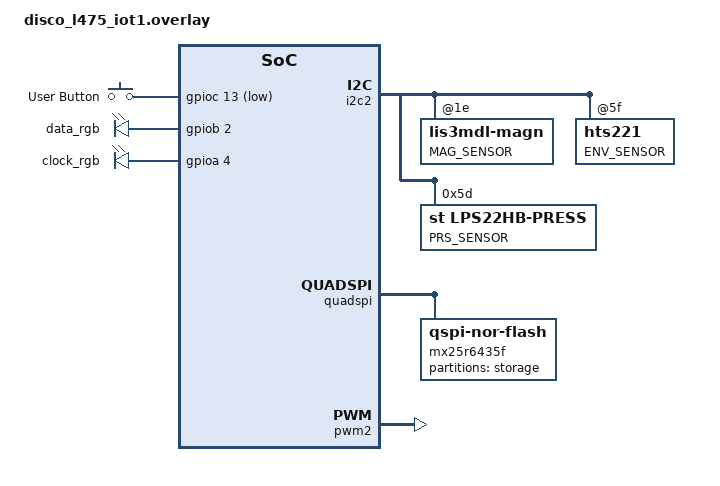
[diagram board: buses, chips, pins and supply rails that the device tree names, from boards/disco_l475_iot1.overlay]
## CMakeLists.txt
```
# SPDX-License-Identifier: Apache-2.0

cmake_minimum_required(VERSION 3.20.0)
find_package(Zephyr REQUIRED HINTS $ENV{ZEPHYR_BASE})
project(s1)

target_sources(app PRIVATE src/main.c src/task1.c)
```

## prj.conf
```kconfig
CONFIG_GPIO=y
CONFIG_ENTROPY_GENERATOR=y
#CONFIG_UART_INTERRUPT_DRIVEN=y
#CONFIG_SERIAL=y

CONFIG_SHELL=y
CONFIG_SHELL_BACKEND_SERIAL=y
CONFIG_UART_CONSOLE=y


CONFIG_CBPRINTF_COMPLETE=y
CONFIG_LOG=y
CONFIG_LOG_DEFAULT_LEVEL=3
CONFIG_LOG_MODE_DEFERRED=y
CONFIG_RTC=y

CONFIG_I2C=y
CONFIG_SENSOR=y
CONFIG_LIS3MDL=y

CONFIG_JSON_LIBRARY=y

CONFIG_FLASH=y
CONFIG_SPI=y
CONFIG_FLASH_MAP=y
CONFIG_NVS=y
CONFIG_FS_LOG_LEVEL_DBG=y

CONFIG_FILE_SYSTEM=y
CONFIG_FILE_SYSTEM_LITTLEFS=y
CONFIG_SHELL_STACK_SIZE=4096
CONFIG_MAIN_STACK_SIZE=4096

CONFIG_SHELL_BACKEND_SERIAL=y
CONFIG_FILE_SYSTEM_SHELL=y

#CONFIG_MAIN_STACK_SIZE=4096 #for file system
```

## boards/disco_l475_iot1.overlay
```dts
&i2c2 {
    mag_sensor: lis3mdl-magn@1e {
        label = "MAG_SENSOR";
        status = "okay";
    };
    env_sensor: hts221@5f{
        label = "ENV_SENSOR";
        status = "okay";
    };
    prs_sensor: lps22hb-press@5d {
        label = "PRS_SENSOR";
	    compatible = "st,lps22hb-press";
	    reg = <0x5d>;
    };
};


&quadspi {
    status = "okay";
    mx25r6435f: qspi-nor-flash@90000000 {
        partitions {
            spi_storage_partition: partition@700000 {
                label = "storage";
                reg = <0x700000 0x100000>; /* 1 MB for storage */
            };
        };
    };
};

/{
    gpio_keys {
        compatible = "gpio-keys";
        user_button: button_0 {
            label = "User Button";
            gpios = <&gpioc 13 GPIO_ACTIVE_LOW>;
            zephyr,code = <INPUT_KEY_0>;
        };
    };
    aliases {
        rtc = &rtc;
        mag = &mag_sensor;
        env = &env_sensor;
        prs = &prs_sensor;
        sw0 = &user_button; 
        storage = &spi_storage_partition;
        //mag = &lis3mdl_magn_1e;
        //mag = &MAG_SENSOR;
    };
};






//S1 LED overaly
/{
    aliases {
        datargb = &data_rgb;
        clkrgb = &clock_rgb;
        
    };

    pwmleds: pwmleds {
		compatible = "pwm-leds";
		status = "disabled";
		/*
		 * green_pwm_1 is connected to CN1 pin 2 not LD1, since LD1
		 * shares a pin with the Arduino SPI SCL line.
		 */
		pwm_1: pwm_1 {
			pwms = <&pwm2 1 PWM_MSEC(1000) PWM_POLARITY_NORMAL>;
		};
		pwm_2: pwm_2 {
			pwms = <&pwm15 1 PWM_MSEC(1000) PWM_POLARITY_NORMAL>;
		};
	};

    gpios {
        compatible="gpio-leds";
        status="okay";
        data_rgb: data_rgb {
            gpios = <&gpiob 2 GPIO_ACTIVE_HIGH>;
        };
        clock_rgb: clock_rgb {
            gpios = <&gpioa 4 GPIO_ACTIVE_HIGH>;
        };
    };
};

&pwm2 {
    status = "okay";
};
```

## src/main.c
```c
#include <stdio.h>
#include "task1.c"
#include "task2.c"
#include "task3.c"
#include "task5.c"

#include <zephyr/kernel.h>
#include <zephyr/drivers/gpio.h>
#include <zephyr/random/random.h>
#include <zephyr/shell/shell.h>
#include <zephyr/logging/log.h>
#include <inttypes.h>
#include <zephyr/drivers/pwm.h>
#include <zephyr/devicetree.h>


#define SLEEP_TIME_MS   1000
#define STACK_SIZE 1024
#define RNG_PRIORITY 7
#define DISPLAY_PRIORITY 7
#define MSGQ_SIZE 10
#define MSGQ_ALIGNMENT 4
const struct device *const rtc = DEVICE_DT_GET(DT_ALIAS(rtc));

//Creates command subset

SHELL_STATIC_SUBCMD_SET_CREATE(
    custom_cmds,
    SHELL_CMD_ARG(rtc, NULL, "set time", rtc_time, 2, 6),
    SHELL_CMD_ARG(sample, NULL, "sample", sample_cmd, 2, 6),
    //SHELL_CMD_ARG(setTime, NULL, "set time", set_date_time, 0, 7),
    //SHELL_CMD_ARG(getTime, NULL, "get time", get_date_time, 0, 0),
    SHELL_CMD_ARG(sensor, NULL, "get sensor", sensor_main, 3, 0),
    SHELL_CMD_ARG(file, NULL, "file stuff", file_handler, 2, 0),
    SHELL_SUBCMD_SET_END
);
//SHELL_CMD_REGISTER(setTime, NULL, "", set_date_time); //determines what function will run based on the command
//SHELL_CMD_REGISTER(getTime, NULL, "", get_date_time);
SHELL_CMD_REGISTER(rtc, NULL, "", rtc_time);
SHELL_CMD_REGISTER(sensor, NULL, "", sensor_main);
SHELL_CMD_REGISTER(sample, NULL, "", sample_cmd);
SHELL_CMD_REGISTER(file, NULL, "", file_handler);

int main(){
    //set_date_time(2025, 3, 28, 3, 39, 0);
    while (get_date_time() == 0) {
		k_sleep(K_MSEC(1000));
	};
    return 0;
}
```

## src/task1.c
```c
#include "task1.h"


static int rtc_time(const struct shell *shell, size_t argc, char *argv[]) {
	if(argv[1][0]=='r'){
		get_date_time();
	}
	else if(argv[1][0]=='w'){
		set_date_time(shell, argc, argv);
	}
}

static int set_date_time(const struct shell *shell, size_t argc, char *argv[]) {
	printf("%d\n", argc);
    int year = atoi(argv[2]);
    int mon = atoi(argv[3]);
    int date = atoi(argv[4]);
    int hour = atoi(argv[5]);
    int min = atoi(argv[6]);
    int sec = atoi(argv[7]);
	int ret = 0;
	struct rtc_time tm = {
		.tm_year = year - 1900,
		.tm_mon = mon - 1,
		.tm_mday = date,
		.tm_hour = hour,
		.tm_min = min,
		.tm_sec = sec,
	};

	ret = rtc_set_time(rtc, &tm);
	if (!device_is_ready(rtc)) {
		printf("RTC device is not ready\n");
		return 1;
	}
	if (ret < 0) {
		printf("Cannot write date time: %d\n", ret);
		return 1;
	}
	return 0;
}

static int get_date_time() {
	int ret = 0;
	struct rtc_time tm;

	ret = rtc_get_time(rtc, &tm);
	if (ret < 0) {
		printf("Cannot read date time: %d\n", ret);
		return 1;
	}
	printf("<%04d-%02d-%02d %02d:%02d:%02d>\n", tm.tm_year + 1900,
	       tm.tm_mon + 1, tm.tm_mday, tm.tm_hour, tm.tm_min, tm.tm_sec);

	return 0;
}
static char* get_date_time_json() {
	static char datetime[64];
	int ret = 0;
	struct rtc_time tm;

	ret = rtc_get_time(rtc, &tm);
	if (ret < 0) {
		printf("Cannot read date time: %d\n", ret);
		return 1;
	}
	snprintf(datetime, sizeof(datetime), "%04d-%02d-%02d %02d:%02d:%02d", tm.tm_year + 1900, tm.tm_mon + 1, tm.tm_mday, tm.tm_hour, tm.tm_min, tm.tm_sec);
	return datetime;
}
```

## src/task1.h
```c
#ifndef TASK1_H
#define TASK1_H

#include <zephyr/kernel.h>
#include <zephyr/device.h>
#include <zephyr/drivers/rtc.h>
#include <zephyr/sys/util.h>
#include <zephyr/devicetree.h>
#include <zephyr/shell/shell.h>


//const struct device *const rtc = DEVICE_DT_GET(DT_ALIAS(rtc));
static int rtc_time(const struct shell *shell, size_t argc, char *argv[]);
static int set_date_time(const struct shell *shell, size_t argc, char *argv[]);
static int get_date_time();
extern const struct device *const rtc;
static char* get_date_time_json();

#endif 
```

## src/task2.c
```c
#include "task2.h"

#define RING_BUFFER_SIZE 128
#define DISPLAY_PRIORITY 7
#define STACK_SIZE 1024

//Gets nodes
const struct device *const mag = DEVICE_DT_GET(DT_ALIAS(mag));
const struct device *const env = DEVICE_DT_GET(DT_ALIAS(env));
const struct device *const prs = DEVICE_DT_GET(DT_ALIAS(prs));

RING_BUF_DECLARE(ringMag1, RING_BUFFER_SIZE);
RING_BUF_DECLARE(ringMag2, RING_BUFFER_SIZE);
RING_BUF_DECLARE(ringMag3, RING_BUFFER_SIZE);
RING_BUF_DECLARE(ringTmp, RING_BUFFER_SIZE);
RING_BUF_DECLARE(ringHum, RING_BUFFER_SIZE);
RING_BUF_DECLARE(ringPrs, RING_BUFFER_SIZE);





//Decides which sensor to return 
void sensor_main(const struct shell *shell, size_t argc, char *argv[]){
	if(strcmp(argv[1], "mag")==0){
		get_mag(1);
	}
	else if(strcmp(argv[1], "tmp")==0){
		get_tmp(1);
	}
	else if(strcmp(argv[1], "hum")==0){
		get_hum(1);
	}
	else if(strcmp(argv[1], "prs")==0){
		get_pressure(1);
	}
}

//Returns mag sensor
char* get_mag(int useRing){
	static char mag_value[64]; // Static buffer to hold the formatted string
	struct sensor_value x, y, z;
	uint8_t data1[sizeof(x)];
	uint8_t data2[sizeof(y)];
	uint8_t data3[sizeof(z)];
	//fetch sample from sensor
	int ret = sensor_sample_fetch(mag);
	if (ret) {
		printf("Sensor sample fetch error: %d\n", ret);
	 	return 1;
	}
	
	//retrieve values 
	ret = sensor_channel_get(mag, SENSOR_CHAN_MAGN_X, &x);
	ret |= sensor_channel_get(mag, SENSOR_CHAN_MAGN_Y, &y);
	ret |= sensor_channel_get(mag, SENSOR_CHAN_MAGN_Z, &z);
	memcpy(data1, &x, sizeof(x));  // Copy struct x into the data array
	memcpy(data2, &y, sizeof(y));  // Copy struct y into the data array
	memcpy(data3, &z, sizeof(z));  // Copy struct z into the data array
	if (ret) {
		printf("Sensor channel get error: %d\n", ret);
		k_sleep(K_MSEC(1000));
		return 1;
	}
	//print readings
	if(useRing == 1){
		if (ring_buf_put(&ringMag1, &data1, sizeof(data1)) == 0) {
		}
		if (ring_buf_put(&ringMag2, &data2, sizeof(data2)) == 0) {
		}
		if (ring_buf_put(&ringMag3, &data3, sizeof(data3)) == 0) {
		}
	}
	// Format the magnetometer values into a string
    snprintf(mag_value, sizeof(mag_value), "X: %d.%06d, Y: %d.%06d, Z: %d.%06d",
             x.val1, x.val2, y.val1, y.val2, z.val1, z.val2);
    return mag_value;	
}

char* get_tmp(int useRing) {
	static char tmp_value[32]; // Static buffer to hold the formatted string
    struct sensor_value temp;
    uint8_t data[sizeof(struct sensor_value)];  
    int ret = sensor_sample_fetch(env);

    if (ret) {
        printf("Error fetching temperature sample: %d\n", ret);
        return 1;
    }

    // Get temperature from the sensor
    ret = sensor_channel_get(env, SENSOR_CHAN_AMBIENT_TEMP, &temp);
    if (ret) {
        printf("Error getting temperature channel: %d\n", ret);
        return 1;
    }

    // Copy the temperature value into the data buffer
    memcpy(data, &temp, sizeof(temp));

    // Write the data to the ring buffer (temperature)
	if(useRing == 1){
		if (ring_buf_put(&ringTmp, data, sizeof(data)) == 0) {
		}
	}	
    // Format the temperature value into a string
    snprintf(tmp_value, sizeof(tmp_value), "%d.%06d °C", temp.val1, temp.val2);
    return tmp_value;
}

char* get_hum(int useRing) {
	static char hum_value[32]; // Static buffer to hold the formatted string
    struct sensor_value hum;
	uint8_t data[sizeof(struct sensor_value)];
	//fetch new sample from sensor
    int ret = sensor_sample_fetch(env);

    if (ret) {
        printf("Error fetching humidity sample: %d\n", ret);
        return ret;
    }

    // Get the humidity data from the sensor
    ret = sensor_channel_get(env, SENSOR_CHAN_HUMIDITY, &hum);
    if (ret) {
        printf("Error getting humidity channel: %d\n", ret);
        return ret;
    }
	memcpy(data, &hum, sizeof(hum));
	//prints humidity
	if(useRing == 1){
		if (ring_buf_put(&ringHum, data, sizeof(data)) == 0) {
		}
	}
	// Format the humidity value into a string
    snprintf(hum_value, sizeof(hum_value), "%d.%06d %%", hum.val1, hum.val2);
    return hum_value;
}

char* get_pressure(int useRing) {
	static char prs_value[32]; // Static buffer to hold the formatted string
    struct sensor_value pressure;
	uint8_t data[sizeof(struct sensor_value)];
    int ret;

    // Fetch a new sample from the pressure sensor 
    ret = sensor_sample_fetch(prs);
    if (ret) {
        printf("Error fetching pressure sample: %d\n", ret);
        return 1;
    }

    // gets pressure from sensor
    ret = sensor_channel_get(prs, SENSOR_CHAN_PRESS, &pressure);
    if (ret) {
        printf("Error getting pressure channel: %d\n", ret);
        return 1;
    }
    pressure.val1 = pressure.val1 * 1000; // Convert integer part to Pa
    pressure.val2 = pressure.val2 * 1000; // Adjust fractional part
	memcpy(data, &pressure, sizeof(pressure));
	//prints pressure
	if(useRing == 1){
    	if (ring_buf_put(&ringPrs, data, sizeof(data)) == 0) {
    	}
	}
    // Format the pressure value into a string
    snprintf(prs_value, sizeof(prs_value), "%d.%06d Pa", pressure.val1, pressure.val2);
    return prs_value;
}

void display_task(int useRing) {
    uint8_t data[sizeof(struct sensor_value)];  // Space for one sensor_value
    struct sensor_value x, y, z, hum, pressure, temp;

    while (1) {
        // Read and display magnetometer data
		if (ring_buf_get(&ringMag3, data, sizeof(data)) != 0) {
            // Deserialize the data back into the sensor_value structs
            memcpy(&z, data, sizeof(z));  // Copy data into struct x
			if (ring_buf_get(&ringMag2, data, sizeof(data)) != 0) {
            	memcpy(&y, data, sizeof(y));  // Copy data into struct y3
				if (ring_buf_get(&ringMag1, data, sizeof(data)) != 0) {
            		memcpy(&x, data, sizeof(x));  // Copy data into struct z
				}
		}

            // Print the sensor readings
			printf("X: %d.%06d, Y: %d.%06d, Z: %d.%06d\n",
				x.val1, x.val2, y.val1, y.val2, z.val1, z.val2);
        }

        // Read and display temperature data
        if (ring_buf_get(&ringTmp, data, sizeof(data)) > 1) {
            memcpy(&temp, data, sizeof(temp));
            printf("%d.%06d °C\n", temp.val1, temp.val2);
        }

        // Read and display humidity data
        if (ring_buf_get(&ringHum, data, sizeof(data)) != 0) {
            memcpy(&hum, data, sizeof(hum));
            printf("%d.%06d %%\n", hum.val1, hum.val2);
        }

        // Read and display pressure data
        if (ring_buf_get(&ringPrs, data, sizeof(data)) != 0) {
            memcpy(&pressure, data, sizeof(pressure));
            printf("%d.%06d Pa\n", pressure.val1, pressure.val2);
        }

        k_msleep(50);
    }
}
K_THREAD_DEFINE(displayT, STACK_SIZE, display_task, NULL, NULL, NULL, DISPLAY_PRIORITY, 0, 0);
```

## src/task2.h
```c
#ifndef TASK2_H
#define TASK2_H

#include <zephyr/kernel.h>
#include <zephyr/device.h>
#include <zephyr/drivers/rtc.h>
#include <zephyr/sys/util.h>
#include <zephyr/devicetree.h>
#include <zephyr/shell/shell.h>
#include <zephyr/drivers/sensor.h>
//#include <sys/ring_buffer.h>

#include <zephyr/sys/mpsc_pbuf.h>
#include <zephyr/sys/mpsc_packet.h>

//const struct device *const rtc = DEVICE_DT_GET(DT_ALIAS(rtc));
void sensor_main(const struct shell *shell, size_t argc, char *argv[]);
char* get_mag();
char* get_tmp();
char* get_hum();
char* get_pressure();
void display_task(); 

#endif 
```

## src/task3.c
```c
#include "task3.h"
#include "task2.h"
#include "task5.h"
#include <zephyr/data/json.h>
#include <zephyr/drivers/gpio.h>
#include <zephyr/kernel.h>


#define SAMPLE_BUFFER_SIZE 512
#define SAMPLE_PRIORITY 6
#define STACK_SIZE 4096

#define MSGQ_SIZE 10
#define MSGQ_ALIGNMENT 4

static int on=0;

static const struct gpio_dt_spec button = GPIO_DT_SPEC_GET(DT_ALIAS(sw0), gpios); // GPIO pin for button
static struct gpio_callback button_cb_data;

struct json_struct {
    int DID;
    char* time;
    char* value;
};
// JSON descriptors for struct json_struct
static const struct json_obj_descr json_descr[] = {
    JSON_OBJ_DESCR_PRIM(struct json_struct, DID, JSON_TOK_NUMBER),
    JSON_OBJ_DESCR_PRIM(struct json_struct, time, JSON_TOK_STRING),
    JSON_OBJ_DESCR_PRIM(struct json_struct, value, JSON_TOK_STRING),
};

//Creates queue
K_MSGQ_DEFINE(Q_on_mag, sizeof(uint32_t), MSGQ_SIZE, MSGQ_ALIGNMENT);
K_MSGQ_DEFINE(Q_on_tmp, sizeof(uint32_t), MSGQ_SIZE, MSGQ_ALIGNMENT);
K_MSGQ_DEFINE(Q_on_hum, sizeof(uint32_t), MSGQ_SIZE, MSGQ_ALIGNMENT);
K_MSGQ_DEFINE(Q_on_prs, sizeof(uint32_t), MSGQ_SIZE, MSGQ_ALIGNMENT);
K_MSGQ_DEFINE(Q_on_all, sizeof(uint32_t), MSGQ_SIZE, MSGQ_ALIGNMENT);
K_MSGQ_DEFINE(Q_rate, sizeof(uint32_t), MSGQ_SIZE, MSGQ_ALIGNMENT);
K_MSGQ_DEFINE(Q_device, sizeof(uint32_t), MSGQ_SIZE, MSGQ_ALIGNMENT);

//button function
void button_pressed(const struct device *dev, struct gpio_callback *cb, uint32_t pins) {
    int on_val = 1;
    int off_val = 0;
    if(on == 1){
        k_msgq_put(&Q_on_mag, &off_val, K_NO_WAIT);
        k_msgq_put(&Q_on_prs, &off_val, K_NO_WAIT);
        k_msgq_put(&Q_on_all, &off_val, K_NO_WAIT);
        k_msgq_put(&Q_on_tmp, &off_val, K_NO_WAIT);
        k_msgq_put(&Q_on_hum, &off_val, K_NO_WAIT);
    }
    else{
        k_msgq_put(&Q_on_tmp, &on_val, K_NO_WAIT);
    }
}

//takes cmd params
void sample_cmd(const struct shell *shell, size_t argc, char *argv[]){
    int on_val = 1;
    int off_val = 0;
    if(argv[1][0]=='s'){
        if(argv[2][0]=='4'){
            k_msgq_put(&Q_on_mag, &on_val, K_NO_WAIT);
        }
        else if(strcmp(argv[2],"15")==0){
            k_msgq_put(&Q_on_mag, &off_val, K_NO_WAIT);
            k_msgq_put(&Q_on_tmp, &off_val, K_NO_WAIT);
            k_msgq_put(&Q_on_hum, &off_val, K_NO_WAIT);
            k_msgq_put(&Q_on_prs, &off_val, K_NO_WAIT);
            k_msgq_put(&Q_on_all, &on_val, K_NO_WAIT);
        }
        else if(argv[2][0]=='0'){
            k_msgq_put(&Q_on_tmp, &on_val, K_NO_WAIT);
        }
        else if(argv[2][0]=='1'){
            k_msgq_put(&Q_on_hum, &on_val, K_NO_WAIT);
        }
        else if(argv[2][0]=='2'){
            k_msgq_put(&Q_on_prs, &on_val, K_NO_WAIT);
        }
        k_msgq_put(&Q_device, argv[2], K_NO_WAIT);
    }
    else if(argv[1][0]=='p'){
        if(argv[2][0]=='4'){
            k_msgq_put(&Q_on_mag, &off_val, K_NO_WAIT);
        }
        else if(argv[2][0]=='2'){
            k_msgq_put(&Q_on_prs, &off_val, K_NO_WAIT);
        }
        else if(strcmp(argv[2],"15")==0){
            k_msgq_put(&Q_on_all, &off_val, K_NO_WAIT);
        }
        else if(argv[2][0]=='0'){
            k_msgq_put(&Q_on_tmp, &off_val, K_NO_WAIT);
        }
        else if(argv[2][0]=='1'){
            k_msgq_put(&Q_on_hum, &off_val, K_NO_WAIT);
        }
        k_msgq_put(&Q_device, argv[2], K_NO_WAIT);
    }
    else if(argv[1][0]=='w'){
        uint32_t rate = (uint32_t)atoi(argv[2]);
        k_msgq_put(&Q_rate, &rate, K_NO_WAIT);
    }
}

void sample_mag(){
    struct json_struct mag_data = {
        .DID = 4, // Device ID for magnetometer
        .time = get_date_time_json(), // Function to get the current timestamp
        .value = get_mag(0) // Function to get magnetometer data
    };
    char json_output[SAMPLE_BUFFER_SIZE];
    int ret = json_obj_encode_buf(json_descr, ARRAY_SIZE(json_descr), &mag_data, json_output, sizeof(json_output));
    printf("%s\n", json_output);

}
void sample_tmp(){
    //sets up json object
    struct json_struct tmp_data = {
        .DID = 0, // Device ID for temperature sensor
        .time = get_date_time_json(), // Function to get the current timestamp
        .value = get_tmp(0) // Function to get temperature data
    };
    char json_output[SAMPLE_BUFFER_SIZE];
    int ret = json_obj_encode_buf(json_descr, ARRAY_SIZE(json_descr), &tmp_data, json_output, sizeof(json_output));
    printf("%s\n", json_output);
}
void sample_hum(){
    //sets up json object
    struct json_struct hum_data = {
        .DID = 1, // Device ID for humidity sensor
        .time = get_date_time_json(), // Function to get the current timestamp
        .value = get_hum(0) // Function to get humidity data
    };
    char json_output[SAMPLE_BUFFER_SIZE];
    int ret = json_obj_encode_buf(json_descr, ARRAY_SIZE(json_descr), &hum_data, json_output, sizeof(json_output));
    printf("%s\n", json_output);
}
void sample_prs(){
    //sets up json object
    struct json_struct prs_data = {
        .DID = 2, // Device ID for pressure sensor
        .time = get_date_time_json(), // Function to get the current timestamp
        .value = get_pressure(0) // Function to get pressure data
    };
    char json_output[SAMPLE_BUFFER_SIZE];
    int ret = json_obj_encode_buf(json_descr, ARRAY_SIZE(json_descr), &prs_data, json_output, sizeof(json_output));
    printf("%s\n", json_output);
}
void sample_all(){
        // Gets all indervidual sensor values
        char* hum_value = get_hum(0); 
        char* tmp_value = get_tmp(0); 
        char* prs_value = get_pressure(0); 
        char* mag_value = get_mag(0); 
        // Combine the values into a single string
        static char combined_value[SAMPLE_BUFFER_SIZE];
        snprintf(combined_value, sizeof(combined_value),"%s, %s, %s, %s",hum_value, tmp_value, prs_value, mag_value);

    //sets up json object
    struct json_struct prs_data = {
        .DID = 15, // Device ID for pressure sensor
        .time = get_date_time_json(), // Function to get the current timestamp
        .value = combined_value // Function to get pressure data
    };
    char json_output[SAMPLE_BUFFER_SIZE];
    int ret = json_obj_encode_buf(json_descr, ARRAY_SIZE(json_descr), &prs_data, json_output, sizeof(json_output));
    printf("%s\n", json_output);
}

//Task to sample data
void sample_task(){
    int on_mag = 0;
    int on_tmp = 0;
    int on_hum = 0;
    int on_prs = 0;
    int on_all = 0;
    int rate = 5;
    int device = 0;
    
    init_file_system(); //INITIALIZE FILE SYSTEM FOR TASK 5

    gpio_pin_configure_dt(&button, GPIO_INPUT); //configure as input
    gpio_pin_interrupt_configure_dt(&button, GPIO_INT_EDGE_TO_ACTIVE); //configure interrupt
    gpio_init_callback(&button_cb_data, button_pressed, BIT(button.pin)); //initialize callback
    gpio_add_callback(button.port, &button_cb_data); //add callback
    while(1){
        //takes params from cmd
        k_msgq_get(&Q_on_mag, &on_mag, K_MSEC(3));
        k_msgq_get(&Q_on_tmp, &on_tmp, K_MSEC(3));
        k_msgq_get(&Q_on_hum, &on_hum, K_MSEC(3));
        k_msgq_get(&Q_on_prs, &on_prs, K_MSEC(3));
        k_msgq_get(&Q_on_all, &on_all, K_MSEC(3));
        k_msgq_get(&Q_rate, &rate, K_MSEC(3));
        k_msgq_get(&Q_device, &device, K_MSEC(3));

        //runs samples of on sensors
        if(on_mag==1){
            on = 1;
            sample_mag();
        }
        if(on_tmp==1){
            on = 1;
            sample_tmp();
        }
        if(on_hum==1){
            on = 1;
            sample_hum();
        }
        if(on_prs==1){
            on = 1;
            sample_prs();
        }
        if(on_all==1){
            on = 1;
            sample_all();
        }
        if((on_mag || on_tmp || on_hum || on_prs || on_all)==0) {
            on = 0;
        }
        k_msleep(rate*1000);
    }

}
K_THREAD_DEFINE(sampleT, STACK_SIZE, sample_task, NULL, NULL, NULL, SAMPLE_PRIORITY, 0, 0); //starts task
```

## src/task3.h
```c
#ifndef TASK2_H
#define TASK2_H

#include <zephyr/kernel.h>
#include <zephyr/device.h>
#include <zephyr/drivers/rtc.h>
#include <zephyr/sys/util.h>
#include <zephyr/devicetree.h>
#include <zephyr/shell/shell.h>
#include <zephyr/drivers/sensor.h>


#include "task2.h"
#include "task1.h"

//const struct device *const rtc = DEVICE_DT_GET(DT_ALIAS(rtc));
void sample_cmd(const struct shell *shell, size_t argc, char *argv[])

#endif 
```

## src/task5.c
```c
#include "task5.h"
#include "task2.h"
#include <zephyr/data/json.h>
#include <zephyr/drivers/gpio.h>
#include <zephyr/kernel.h>
#include <zephyr/fs/fs.h>
#include <zephyr/fs/littlefs.h> // Include LittleFS header

#include <zephyr/storage/flash_map.h>
#include <zephyr/drivers/flash.h>
#include <zephyr/logging/log.h>


#define SAMPLE_BUFFER_SIZE 512
#define SAMPLE_PRIORITY 6
#define STACK_SIZE 1024

#define MOUNT_POINT "/lfs" //little fs as mount point

//set to max size
#define MAX_PATH_LEN 255
#define TEST_FILE_SIZE 547

LOG_MODULE_REGISTER(task5, LOG_LEVEL_DBG);

static uint8_t file_test_pattern[TEST_FILE_SIZE];

void file_handler(const struct shell *shell, size_t argc, char *argv[]){
    if (argv[1][0] == '0'){
        write_to_file("tmp.txt");
    }
    else if (argv[1][0] == '1'){
        write_to_file("hum.txt");
    }
    else if (argv[1][0] == '2'){
        write_to_file("prs.txt");
    }
    else if (argv[1][0] == '4'){
        write_to_file("mag.txt");
    }
}


int write_to_file(const char *filename) {
    char filepath[MAX_PATH_LEN];
    char data[SAMPLE_BUFFER_SIZE];
    struct fs_file_t file;
    int ret;
    const char *retrieved;
    printf("writing to file %s\n", filename);

    // Construct the full file path
    snprintf(filepath, sizeof(filepath), "%s/%s", MOUNT_POINT, filename);

    // Retrieve the data
    if(strcmp(filename, "tmp.txt") == 0) {
        // Get temperature data
        retrieved = get_tmp(0);
    } else if (strcmp(filename, "hum.txt") == 0) {
        // Get humidity data
        retrieved = get_hum(0);
    } else if (strcmp(filename, "prs.txt") == 0) {
        // Get pressure data
        retrieved = get_pressure(0);
    } else if (strcmp(filename, "mag.txt") == 0) {
        // Get magnetometer data
        retrieved = get_mag(0);
    } else {
        printf("Unknown file type: %s\n", filename);
        return -1;
    }
    // Format the temperature data
    snprintf(data, sizeof(data), "%s", retrieved);

    // Initialize the file structure
    fs_file_t_init(&file);
    // Open the file for writing (create if it doesn't exist)
    ret = fs_open(&file, filepath, FS_O_CREATE | FS_O_WRITE);
    if (ret < 0) {
        printf("Error opening file %s [%d]\n", filepath, ret);
        return ret;
    }

    // Write the temperature data to the file
    ret = fs_write(&file, data, strlen(data));
    if (ret < 0) {
        printf("Error writing to file %s [%d]\n", filepath, ret);
        fs_close(&file);
        return ret;
    }
    
    printf("data written to %s\n", filepath);

    // Close the file
    fs_close(&file);

    return 0;
}

static int littlefs_flash_erase(unsigned int id)
{
	const struct flash_area *pfa;
	int rc;

	rc = flash_area_open(id, &pfa);
	if (rc < 0) {
		LOG_ERR("FAIL: unable to find flash area %u: %d\n",
			id, rc);
		return rc;
	}

	LOG_PRINTK("Area %u at 0x%x on %s for %u bytes\n",
		   id, (unsigned int)pfa->fa_off, pfa->fa_dev->name,
		   (unsigned int)pfa->fa_size);

	if (IS_ENABLED(CONFIG_APP_WIPE_STORAGE)) {
		rc = flash_area_flatten(pfa, 0, pfa->fa_size);
		LOG_ERR("Erasing flash area ... %d", rc);
	}

	flash_area_close(pfa);
	return rc;
}
static struct fs_littlefs littlefs_storage;
static void init_file_system(void) { //MUST BE CALLED FROM A TASK currently calling from task3
    static struct fs_mount_t my_fs_mount = {
        .type = FS_LITTLEFS,          // File system type
        .fs_data = &littlefs_storage,         // File system data
        .mnt_point = MOUNT_POINT,     // Mount point path
        .storage_dev = (void *)FIXED_PARTITION_ID(spi_storage_partition), // Storage partition
    };
    littlefs_flash_erase((uintptr_t)my_fs_mount.storage_dev);
    printf("attempting to mount file system\n");
    int ret = fs_mount(&my_fs_mount);
    printf("mounted file system\n");
    if (ret == 0) {
        printf("File system mounted at %s\n", MOUNT_POINT);
    } else {
        printf("Failed to mount file system: %d\n", ret);
    }
    printf("init complete\n");
}
```

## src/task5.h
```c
#ifndef TASK5_H
#define TASK5_H

#include <zephyr/kernel.h>
#include <zephyr/device.h>
#include <zephyr/sys/util.h>
#include <zephyr/devicetree.h>
#include <zephyr/shell/shell.h>

#include <zephyr/storage/flash_map.h>

void file_handler(const struct shell *shell, size_t argc, char *argv[]);
static void init_file_system(void);
int write_to_file(const char *filename);
#endif 
```
